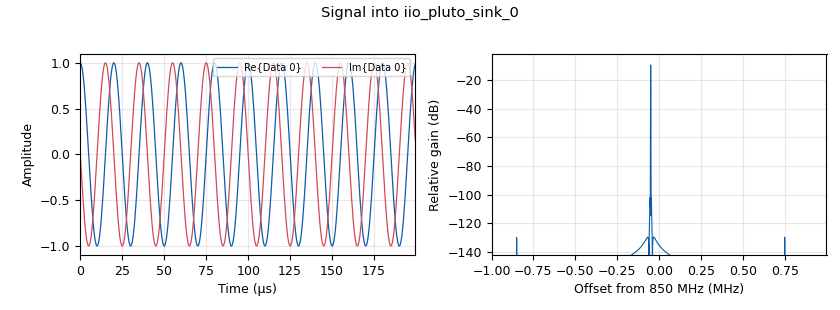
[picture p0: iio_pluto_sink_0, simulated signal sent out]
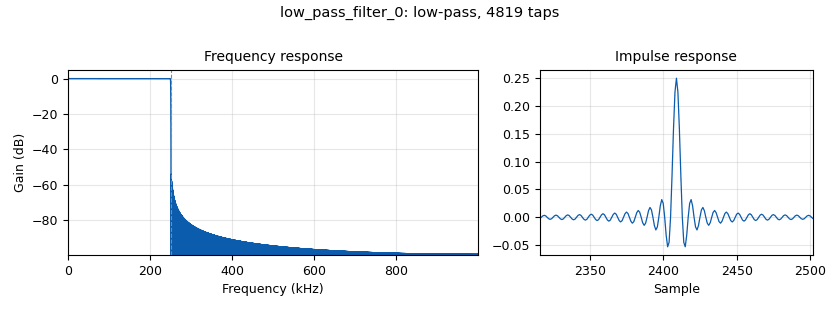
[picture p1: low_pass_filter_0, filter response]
options:
  parameters:
    author: Philippe PUJAS
    description: Modulateur FSK décortiqué. Le mot binaire est fixé
    generate_options: qt_gui
    id: fsk_easy
    output_language: python
    title: Modulation FSK
  states: {}

blocks:
- name: samp_rate
  id: variable
  parameters:
    value: '2000000'
  states: {}
- name: var_bit_per_sec
  id: variable
  parameters:
    value: '1'
  states: {}
- name: var_df
  id: variable_qtgui_range
  parameters:
    gui_hint: '[2,0,1,2]'
    outputmsgname: value
    showports: 'False'
    start: '0'
    step: '1000'
    stop: '100000'
    value: '50000'
  states: {}
- name: var_fe
  id: variable
  parameters:
    value: '850000000'
  states: {}
- name: var_fr
  id: variable
  parameters:
    value: '850000000'
  states: {}
- name: var_rx_gain_db
  id: variable_qtgui_range
  parameters:
    gui_hint: '[0,1,1,1]'
    outputmsgname: value
    showports: 'False'
    start: '0'
    step: '1'
    stop: '60'
    value: '30'
  states: {}
- name: var_tx_att_db
  id: variable_qtgui_range
  parameters:
    gui_hint: '[0,0,1,1]'
    outputmsgname: value
    showports: 'False'
    start: '0'
    step: '1'
    stop: '60'
    value: '30'
  states: {}
- name: analog_const_source_x_0
  id: analog_const_source_x
  parameters:
    const: '0x17'
    type: byte
  states: {}
- name: analog_const_source_x_1
  id: analog_const_source_x
  parameters:
    const: '0'
    type: float
  states: {}
- name: analog_sig_source_x_0
  id: analog_sig_source_x
  parameters:
    amp: '1'
    freq: var_df
    offset: '0'
    phase: '0'
    samp_rate: samp_rate
    type: complex
    waveform: analog.GR_COS_WAVE
  states: {}
- name: blocks_add_const_vxx_1
  id: blocks_add_const_vxx
  parameters:
    const: '1'
    type: complex
  states: {}
- name: blocks_add_xx_0
  id: blocks_add_xx
  parameters:
    type: complex
  states: {}
- name: blocks_char_to_float_0
  id: blocks_char_to_float
  parameters:
    scale: '1'
  states: {}
- name: blocks_conjugate_cc_0
  id: blocks_conjugate_cc
  parameters: {}
  states: {}
- name: blocks_float_to_complex_0
  id: blocks_float_to_complex
  parameters: {}
  states: {}
- name: blocks_multiply_const_vxx_0
  id: blocks_multiply_const_vxx
  parameters:
    const: '-1'
    type: complex
  states: {}
- name: blocks_multiply_xx_0
  id: blocks_multiply_xx
  parameters:
    type: complex
  states: {}
- name: blocks_multiply_xx_0_0
  id: blocks_multiply_xx
  parameters:
    type: complex
  states: {}
- name: blocks_repeat_0
  id: blocks_repeat
  parameters:
    interp: int(samp_rate/var_bit_per_sec)
    type: byte
  states: {}
- name: blocks_unpack_k_bits_bb_0
  id: blocks_unpack_k_bits_bb
  parameters:
    k: '8'
  states: {}
- name: iio_pluto_sink_0
  id: iio_pluto_sink
  parameters:
    attenuation1: var_tx_att_db
    bandwidth: '2000000'
    buffer_size: '32768'
    cyclic: 'False'
    filter_source: '''Auto'''
    frequency: var_fe
    samplerate: samp_rate
    type: fc32
    uri: ip:192.168.2.1
  states: {}
- name: iio_pluto_source_0
  id: iio_pluto_source
  parameters:
    bandwidth: '2000000'
    bbdc: 'True'
    buffer_size: '32768'
    filter_source: '''Auto'''
    fpass: '1000'
    frequency: var_fr
    fstop: '20000'
    gain1: '''manual'''
    manual_gain1: var_rx_gain_db
    quadrature: 'True'
    rfdc: 'True'
    samplerate: samp_rate
    type: fc32
    uri: ip:192.168.2.1
  states: {}
- name: low_pass_filter_0
  id: low_pass_filter
  parameters:
    cutoff_freq: '250000'
    decim: '1'
    gain: '1'
    samp_rate: samp_rate
    type: fir_filter_ccf
    width: '1000'
    win: window.WIN_HAMMING
  states: {}
- name: note_0
  id: note
  parameters:
    note: Signal IQ
  states: {}
- name: note_0_0
  id: note
  parameters:
    note: Récepteur
  states: {}
- name: note_0_0_0
  id: note
  parameters:
    note: Régler l'atténuation entre 0 et 60 dB
  states: {}
- name: note_0_0_0_0
  id: note
  parameters:
    note: Régler le gain entre 0 et 60 dB
  states: {}
- name: note_0_0_1
  id: note
  parameters:
    note: Emetteur
  states: {}
- name: note_0_0_1_0
  id: note
  parameters:
    note: Signal à émettre
  states: {}
- name: note_0_0_2
  id: note
  parameters:
    note: 'Signal binaire : un octet'
  states: {}
- name: note_0_1
  id: note
  parameters:
    note: Réalisation signal IQ
  states: {}
- name: qtgui_freq_sink_x_0
  id: qtgui_freq_sink_x
  parameters:
    bw: samp_rate
    fc: '0'
    fftsize: '1024'
    gui_hint: '[3,1,1,1]'
    label1: Signal IQ filtré reçu
    type: complex
  states: {}
- name: qtgui_time_sink_x_0_1
  id: qtgui_time_sink_x
  parameters:
    grid: 'True'
    label1: Signal IQ émis
    label2: Partie imaginaire
    label3: Signal IQ reçu
    label4: Partie imaginaire
    nconnections: '2'
    size: '4096'
    srate: samp_rate
    style2: '3'
    style4: '3'
    tr_level: '0.5'
    tr_mode: qtgui.TRIG_MODE_AUTO
    type: complex
  states: {}
- name: qtgui_time_sink_x_0_1_0
  id: qtgui_time_sink_x
  parameters:
    autoscale: 'True'
    grid: 'True'
    gui_hint: '[1 ,0, 1, 2]'
    label1: Signal binaire émis
    label2: Partie imaginaire
    size: '4096'
    srate: samp_rate
    style2: '3'
    tr_level: '.5'
    type: complex
  states: {}
- name: qtgui_waterfall_sink_x_0
  id: qtgui_waterfall_sink_x
  parameters:
    bw: samp_rate
    fc: '0'
    fftsize: '1024'
    type: complex
  states: {state: disabled}
- name: qtgui_waterfall_sink_x_1
  id: qtgui_waterfall_sink_x
  parameters:
    bw: samp_rate/10
    fc: '0'
    fftsize: '1024'
    gui_hint: '[3,0,1,1]'
    label1: Signal IQ filtré reçu
    type: complex
  states: {}

connections:
- [analog_const_source_x_0, '0', blocks_unpack_k_bits_bb_0, '0']
- [analog_const_source_x_1, '0', blocks_float_to_complex_0, '1']
- [analog_sig_source_x_0, '0', blocks_conjugate_cc_0, '0']
- [analog_sig_source_x_0, '0', blocks_multiply_xx_0, '1']
- [blocks_add_const_vxx_1, '0', blocks_multiply_xx_0_0, '0']
- [blocks_add_xx_0, '0', iio_pluto_sink_0, '0']
- [blocks_add_xx_0, '0', qtgui_time_sink_x_0_1, '0']
- [blocks_char_to_float_0, '0', blocks_float_to_complex_0, '0']
- [blocks_conjugate_cc_0, '0', blocks_multiply_xx_0_0, '1']
- [blocks_float_to_complex_0, '0', blocks_multiply_const_vxx_0, '0']
- [blocks_float_to_complex_0, '0', blocks_multiply_xx_0, '0']
- [blocks_float_to_complex_0, '0', qtgui_time_sink_x_0_1_0, '0']
- [blocks_multiply_const_vxx_0, '0', blocks_add_const_vxx_1, '0']
- [blocks_multiply_xx_0, '0', blocks_add_xx_0, '0']
- [blocks_multiply_xx_0_0, '0', blocks_add_xx_0, '1']
- [blocks_repeat_0, '0', blocks_char_to_float_0, '0']
- [blocks_unpack_k_bits_bb_0, '0', blocks_repeat_0, '0']
- [iio_pluto_source_0, '0', low_pass_filter_0, '0']
- [iio_pluto_source_0, '0', qtgui_time_sink_x_0_1, '1']
- [low_pass_filter_0, '0', qtgui_freq_sink_x_0, '0']
- [low_pass_filter_0, '0', qtgui_waterfall_sink_x_1, '0']

metadata:
  file_format: 1
  grc_version: 3.10.4.0
